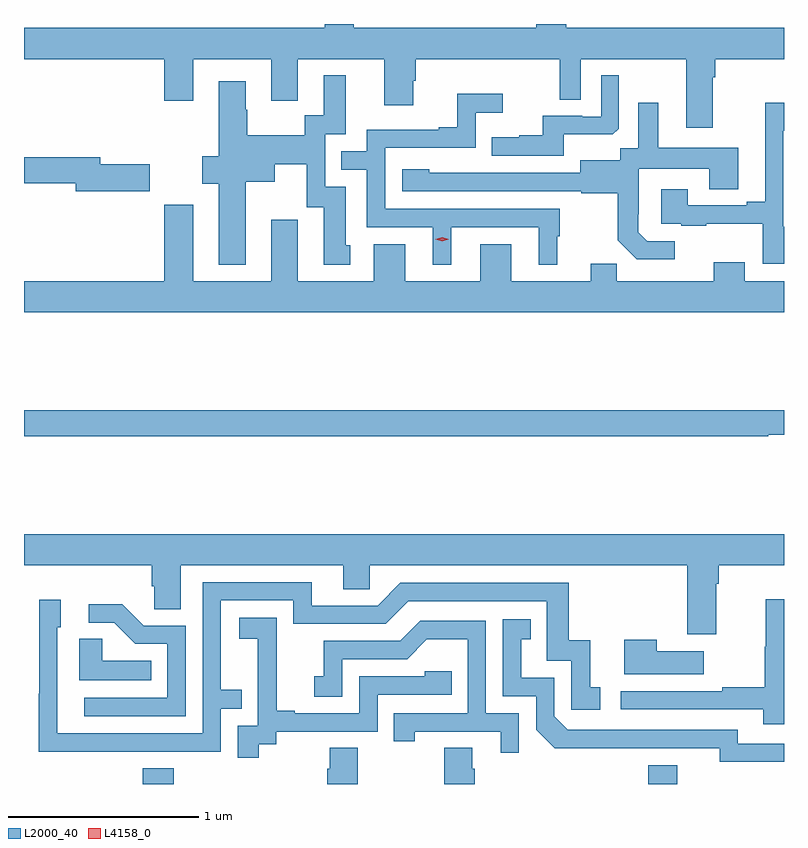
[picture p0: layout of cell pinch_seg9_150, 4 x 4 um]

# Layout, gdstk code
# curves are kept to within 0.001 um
import gdstk
lib = gdstk.Library(unit=1e-6, precision=1e-09)
def R(c, l, rs):  # rectangles x0, y0, x1, y1
    for r in rs: c.add(gdstk.rectangle(r[:2], r[2:], *l))
def P(c, l, *ps):  # polygons
    for p in ps: c.add(gdstk.Polygon(p, *l))
L2000_40 = (2000, 40)
L4158_0 = (4158, 0)

pinch_seg9_150 = lib.new_cell('pinch_seg9_150')
R(pinch_seg9_150, L2000_40, [(748.889,1239.225,749.054,1239.307), (751.55,1239.225,751.702,1239.325)])
P(pinch_seg9_150, L2000_40, [(751.891,1242.944),(751.904,1242.944),(751.904,1243.04),(752.265,1243.04),(752.265,1243.204),(751.118,1243.204),(751.118,1243.225),(750.961,1243.225),(750.961,1243.204),(750.001,1243.204),(750.001,1243.225),(749.849,1243.225),(749.849,1243.204),(748.265,1243.204),(748.265,1243.04),(749.003,1243.04),(749.003,1242.822),(749.155,1242.822),(749.155,1243.04),(749.567,1243.04),(749.567,1242.822),(749.707,1242.822),(749.707,1243.04),(750.161,1243.04),(750.161,1242.798),(750.313,1242.798),(750.313,1242.927),(750.326,1242.927),(750.326,1243.04),(751.086,1243.04),(751.086,1242.826),(751.194,1242.826),(751.194,1243.04),(751.751,1243.04),(751.751,1242.678),(751.891,1242.678)],
  [(749.431,1242.395),(749.584,1242.395),(749.584,1242.488),(749.754,1242.488),(749.754,1242.261),(749.843,1242.261),(749.843,1241.958),(749.983,1241.958),(749.983,1242.06),(749.959,1242.06),(749.959,1242.369),(749.85,1242.369),(749.85,1242.645),(749.959,1242.645),(749.959,1242.955),(749.843,1242.955),(749.843,1242.746),(749.742,1242.746),(749.742,1242.64),(749.439,1242.64),(749.439,1242.774),(749.431,1242.774),(749.431,1242.925),(749.291,1242.925),(749.291,1242.53),(749.204,1242.53),(749.204,1242.383),(749.291,1242.383),(749.291,1241.957),(749.431,1241.957)],
  [(751.105,1242.644),(751.363,1242.644),(751.395,1242.675),(751.395,1242.955),(751.302,1242.955),(751.302,1242.738),(751.202,1242.738),(751.202,1242.741),(750.995,1242.741),(750.995,1242.64),(750.871,1242.64),(750.871,1242.628),(750.727,1242.628),(750.727,1242.531),(751.105,1242.531)],
  [(750.514,1242.156),(750.974,1242.156),(750.974,1241.957),(751.072,1241.957),(751.072,1242.108),(751.084,1242.108),(751.084,1242.252),(750.165,1242.252),(750.165,1242.573),(750.642,1242.573),(750.642,1242.758),(750.784,1242.758),(750.784,1242.857),(750.544,1242.857),(750.544,1242.682),(750.449,1242.682),(750.449,1242.669),(750.069,1242.669),(750.069,1242.555),(749.935,1242.555),(749.935,1242.459),(750.069,1242.459),(750.069,1242.156),(750.416,1242.156),(750.416,1241.957),(750.514,1241.957)],
  [(751.69,1242.081),(751.545,1242.081),(751.498,1242.128),(751.498,1242.223),(751.5,1242.223),(751.5,1242.464),(751.871,1242.464),(751.871,1242.355),(752.023,1242.355),(752.023,1242.574),(751.603,1242.574),(751.603,1242.811),(751.499,1242.811),(751.499,1242.572),(751.404,1242.572),(751.404,1242.508),(751.193,1242.508),(751.193,1242.441),(750.399,1242.442),(750.399,1242.46),(750.255,1242.46),(750.255,1242.345),(751.197,1242.345),(751.197,1242.333),(751.389,1242.333),(751.389,1242.087),(751.489,1241.987),(751.69,1241.987)],
  [(752.265,1242.157),(752.262,1242.157),(752.262,1242.662),(752.265,1242.662),(752.265,1242.811),(752.165,1242.811),(752.165,1242.289),(752.069,1242.289),(752.069,1242.27),(751.759,1242.27),(751.759,1242.355),(751.619,1242.355),(751.619,1242.174),(751.723,1242.174),(751.723,1242.162),(751.855,1242.162),(751.855,1242.173),(752.154,1242.173),(752.154,1241.964),(752.265,1241.964)],
  [(748.927,1242.488),(748.666,1242.488),(748.666,1242.524),(748.265,1242.524),(748.265,1242.388),(748.538,1242.388),(748.538,1242.346),(748.927,1242.346)],
  [(752.265,1241.872),(752.059,1241.872),(752.059,1241.971),(751.895,1241.971),(751.895,1241.872),(751.385,1241.872),(751.385,1241.963),(751.247,1241.963),(751.247,1241.872),(750.829,1241.872),(750.829,1242.067),(750.665,1242.067),(750.665,1241.872),(750.271,1241.872),(750.271,1242.067),(750.107,1242.067),(750.107,1241.872),(749.707,1241.872),(749.707,1242.196),(749.567,1242.196),(749.567,1241.872),(749.155,1241.872),(749.155,1242.274),(749.003,1242.274),(749.003,1241.872),(748.265,1241.872),(748.265,1241.708),(752.265,1241.708)],
  [(752.182,1241.064),(752.265,1241.064),(752.265,1241.192),(748.265,1241.192),(748.265,1241.056),(752.182,1241.056)],
  [(751.909,1240.28),(751.922,1240.28),(751.922,1240.376),(752.265,1240.376),(752.265,1240.54),(748.265,1240.54),(748.265,1240.376),(748.937,1240.376),(748.937,1240.267),(748.95,1240.267),(748.95,1240.144),(749.089,1240.144),(749.089,1240.376),(749.945,1240.376),(749.945,1240.249),(750.084,1240.249),(750.084,1240.376),(751.757,1240.376),(751.757,1240.014),(751.909,1240.014)],
  [(748.805,1239.396),(749.301,1239.396),(749.301,1239.621),(749.411,1239.621),(749.411,1239.722),(749.301,1239.722),(749.301,1240.191),(749.682,1240.191),(749.682,1240.068),(750.168,1240.068),(750.288,1240.188),(751.017,1240.188),(751.017,1239.873),(751.146,1239.873),(751.146,1239.615),(751.297,1239.615),(751.297,1239.735),(751.244,1239.735),(751.244,1239.982),(751.133,1239.982),(751.133,1240.284),(750.246,1240.284),(750.126,1240.164),(749.779,1240.164),(749.779,1240.287),(749.205,1240.287),(749.205,1239.492),(748.44,1239.492),(748.44,1240.05),(748.459,1240.05),(748.459,1240.195),(748.344,1240.195),(748.344,1239.701),(748.342,1239.701),(748.342,1239.395)],
  [(752.265,1240.198),(752.17,1240.198),(752.17,1239.948),(752.163,1239.948),(752.163,1239.734),(751.939,1239.734),(751.939,1239.714),(751.407,1239.714),(751.407,1239.618),(752.155,1239.618),(752.155,1239.54),(752.265,1239.54)],
  [(749.115,1240.059),(748.896,1240.059),(748.783,1240.172),(748.605,1240.172),(748.605,1240.074),(748.739,1240.074),(748.85,1239.963),(749.019,1239.963),(749.019,1239.678),(748.581,1239.678),(748.581,1239.582),(749.115,1239.582)],
  [(749.5,1239.433),(749.592,1239.433),(749.592,1239.501),(750.126,1239.501),(750.126,1239.696),(750.515,1239.696),(750.515,1239.819),(750.375,1239.819),(750.375,1239.792),(750.03,1239.792),(750.03,1239.597),(749.689,1239.597),(749.689,1239.61),(749.594,1239.61),(749.594,1239.893),(749.595,1239.893),(749.595,1240.099),(749.397,1240.099),(749.397,1239.989),(749.495,1239.989),(749.495,1239.761),(749.496,1239.761),(749.496,1239.531),(749.391,1239.531),(749.391,1239.363),(749.5,1239.363)],
  [(752.265,1239.438),(752.022,1239.438),(752.022,1239.51),(751.128,1239.51),(751.056,1239.582),(751.056,1239.783),(750.883,1239.783),(750.883,1239.987),(750.932,1239.987),(750.932,1240.093),(750.786,1240.093),(750.786,1239.687),(750.96,1239.687),(750.96,1239.51),(751.058,1239.413),(751.926,1239.414),(751.926,1239.341),(752.265,1239.341)],
  [(750.87,1239.597),(750.696,1239.597),(750.696,1240.083),(750.35,1240.083),(750.245,1239.978),(749.842,1239.978),(749.842,1239.793),(749.793,1239.793),(749.793,1239.684),(749.94,1239.684),(749.94,1239.882),(750.282,1239.882),(750.386,1239.986),(750.6,1239.986),(750.6,1239.597),(750.211,1239.597),(750.211,1239.45),(750.322,1239.45),(750.322,1239.501),(750.773,1239.501),(750.773,1239.39),(750.87,1239.39)],
  [(748.934,1239.874),(748.677,1239.874),(748.677,1239.989),(748.556,1239.989),(748.556,1239.77),(748.934,1239.77)],
  [(751.843,1239.925),(751.595,1239.925),(751.595,1239.985),(751.424,1239.985),(751.424,1239.803),(751.843,1239.803)],
  [(750.021,1239.416),(749.873,1239.416),(749.873,1239.306),(749.861,1239.306),(749.861,1239.225),(750.021,1239.225)],
  [(750.638,1239.306),(750.625,1239.306),(750.625,1239.416),(750.478,1239.416),(750.478,1239.225),(750.638,1239.225)])
P(pinch_seg9_150, L4158_0, [(750.465,1242.082),(750.43,1242.092),(750.43,1242.092),(750.43,1242.093),(750.465,1242.102),(750.5,1242.093),(750.501,1242.092),(750.5,1242.092)])

lib.write_gds('pinch_seg9_150.gds')
